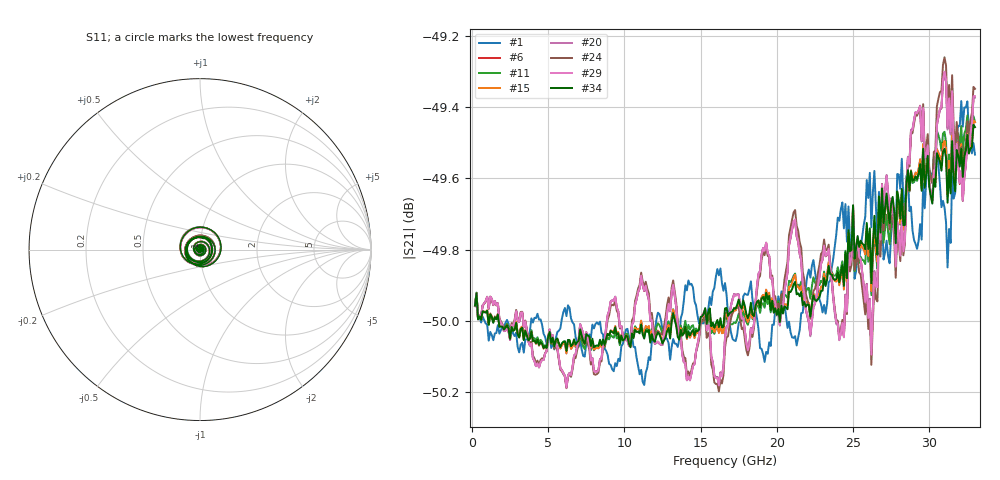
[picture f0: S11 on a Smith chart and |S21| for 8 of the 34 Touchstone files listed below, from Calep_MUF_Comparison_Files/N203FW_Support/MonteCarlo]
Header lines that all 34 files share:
# GHZ S RI R 50
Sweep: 200 MHz to 33 GHz
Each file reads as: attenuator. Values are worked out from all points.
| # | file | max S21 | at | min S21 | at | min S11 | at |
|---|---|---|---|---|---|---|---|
| 1 | N203FW_1.s2p | -49.38 dB | 32.1 GHz | -50.2 dB | 11.3 GHz | -47.8 dB | 2.3 GHz |
| 2 | N203FW_2.s2p | -49.39 dB | 32.5 GHz | -50.2 dB | 11.3 GHz | -48.4 dB | 2.3 GHz |
| 3 | N203FW_6.s2p | -49.38 dB | 32.1 GHz | -50.2 dB | 11.3 GHz | -47.8 dB | 2.3 GHz |
| 4 | N203FW_8.s2p | -49.38 dB | 32.1 GHz | -50.2 dB | 11.3 GHz | -47.8 dB | 1.9 GHz |
| 5 | N203FW_9.s2p | -49.38 dB | 32.1 GHz | -50.2 dB | 11.3 GHz | -47.9 dB | 2.3 GHz |
| 6 | N203FW_11.s2p | -49.30 dB | 31 GHz | -50.2 dB | 6.2 GHz | -47.5 dB | 2.6 GHz |
| 7 | N203FW_13.s2p | -49.46 dB | 32.5 GHz | -50.2 dB | 11.3 GHz | -48.3 dB | 2.3 GHz |
| 8 | N203FW_15.s2p | -49.42 dB | 32.5 GHz | -50.1 dB | 6.2 GHz | -47.5 dB | 2.4 GHz |
| 9 | N203FW_17.s2p | -49.39 dB | 31 GHz | -50.1 dB | 6.2 GHz | -47.4 dB | 2.5 GHz |
| 10 | N203FW_19.s2p | -36.18 dB | 11.3 GHz | -51.4 dB | 7.9 GHz | -49.0 dB | 900 MHz |
| 11 | N203FW_25.s2p | -49.42 dB | 32.5 GHz | -50.1 dB | 6.2 GHz | -47.7 dB | 2.3 GHz |
| 12 | N203FW_27.s2p | -49.40 dB | 31 GHz | -50.1 dB | 6.2 GHz | -47.4 dB | 2.4 GHz |
| 13 | N203FW_29.s2p | -35.79 dB | 11.3 GHz | -51.4 dB | 7.9 GHz | -49.0 dB | 800 MHz |
| 14 | N203FW_30.s2p | -49.41 dB | 32.5 GHz | -50.1 dB | 7.4 GHz | -47.3 dB | 2.5 GHz |
| 15 | N203FW_32.s2p | -49.44 dB | 32.9 GHz | -50.1 dB | 6.2 GHz | -47.3 dB | 2.5 GHz |
| 16 | N203FW_35.s2p | -49.41 dB | 32.5 GHz | -50.1 dB | 6.2 GHz | -47.3 dB | 2.5 GHz |
| 17 | N203FW_39.s2p | -35.53 dB | 11.3 GHz | -51.4 dB | 7.9 GHz | -49.3 dB | 800 MHz |
| 18 | N203FW_44.s2p | -49.44 dB | 32.1 GHz | -50.2 dB | 11.3 GHz | -48.9 dB | 2.3 GHz |
| 19 | N203FW_54.s2p | -49.44 dB | 32.1 GHz | -50.2 dB | 11.3 GHz | -48.0 dB | 1.9 GHz |
| 20 | N203FW_61.s2p | -49.31 dB | 31 GHz | -50.2 dB | 6.2 GHz | -47.2 dB | 2.6 GHz |
| 21 | N203FW_62.s2p | -49.45 dB | 32.9 GHz | -50.1 dB | 6.2 GHz | -47.2 dB | 2.5 GHz |
| 22 | N203FW_63.s2p | -49.46 dB | 32.5 GHz | -50.2 dB | 11.3 GHz | -47.8 dB | 2.3 GHz |
| 23 | N203FW_64.s2p | -49.45 dB | 32.5 GHz | -50.2 dB | 11.3 GHz | -48.0 dB | 2.3 GHz |
| 24 | N203FW_66.s2p | -49.26 dB | 31 GHz | -50.2 dB | 16.2 GHz | -47.2 dB | 2.6 GHz |
| 25 | N203FW_69.s2p | -35.57 dB | 11.3 GHz | -51.4 dB | 7.9 GHz | -49.3 dB | 800 MHz |
| 26 | N203FW_72.s2p | -49.45 dB | 32.9 GHz | -50.1 dB | 6.2 GHz | -47.5 dB | 2.4 GHz |
| 27 | N203FW_73.s2p | -49.46 dB | 32.5 GHz | -50.2 dB | 11.3 GHz | -48.2 dB | 1.9 GHz |
| 28 | N203FW_74.s2p | -49.45 dB | 32.5 GHz | -50.2 dB | 11.3 GHz | -48.4 dB | 1.9 GHz |
| 29 | N203FW_81.s2p | -49.30 dB | 31 GHz | -50.2 dB | 6.2 GHz | -47.4 dB | 2.5 GHz |
| 30 | N203FW_82.s2p | -49.45 dB | 32.9 GHz | -50.1 dB | 6.2 GHz | -47.6 dB | 2.3 GHz |
| 31 | N203FW_83.s2p | -49.46 dB | 32.5 GHz | -50.2 dB | 11.3 GHz | -48.6 dB | 2.3 GHz |
| 32 | N203FW_86.s2p | -49.25 dB | 31 GHz | -50.2 dB | 16.2 GHz | -47.3 dB | 2.5 GHz |
| 33 | N203FW_87.s2p | -49.39 dB | 31.5 GHz | -50.1 dB | 6.2 GHz | -47.4 dB | 2.4 GHz |
| 34 | N203FW_92.s2p | -49.45 dB | 32.9 GHz | -50.1 dB | 6.2 GHz | -47.7 dB | 2.3 GHz |
